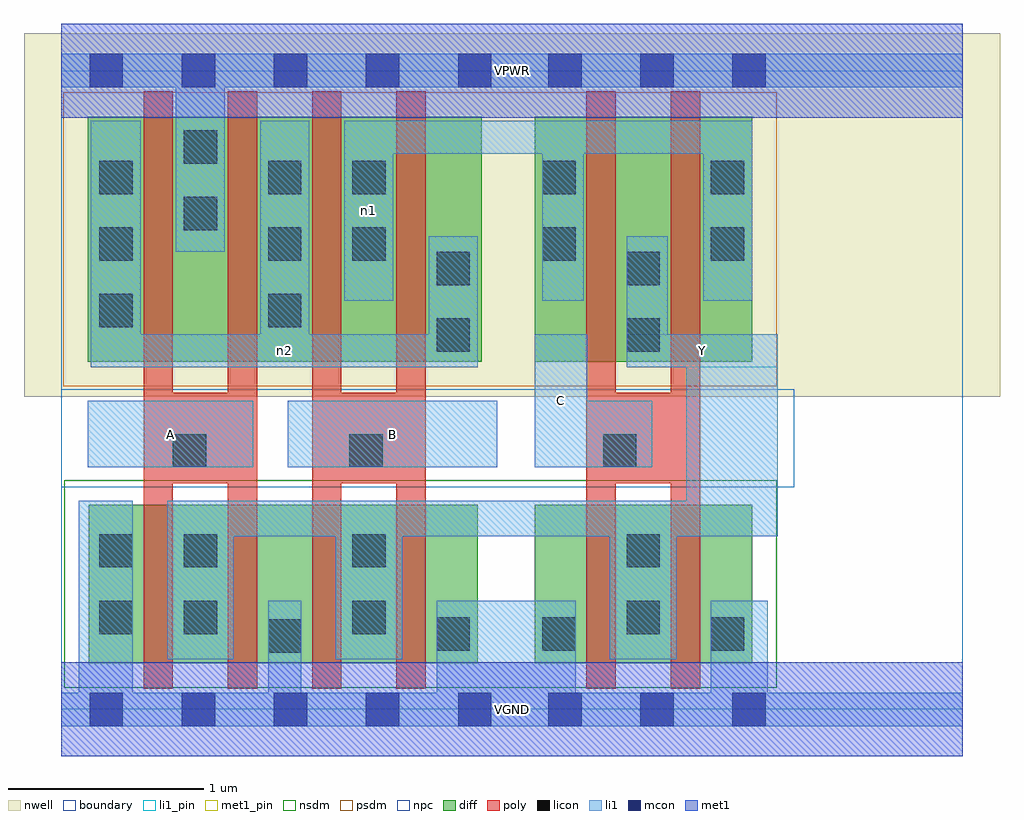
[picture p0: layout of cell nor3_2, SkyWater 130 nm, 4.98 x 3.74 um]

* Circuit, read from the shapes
.subckt nor3_2 A B C VGND VPWR Y n1 n2
XM1 Y A VGND VSUBS sky130_fd_pr__nfet_01v8 w=0.81 l=0.15 m=2
XM2 Y B VGND VSUBS sky130_fd_pr__nfet_01v8 w=0.81 l=0.15 m=2
XM3 Y C VGND VSUBS sky130_fd_pr__nfet_01v8 w=0.81 l=0.15 m=2
XM4 VPWR A n2 n3 sky130_fd_pr__pfet_01v8 w=1.25 l=0.15 m=2
XM5 n1 B n2 n3 sky130_fd_pr__pfet_01v8 w=1.25 l=0.15 m=2
XM6 Y C n1 n3 sky130_fd_pr__pfet_01v8 w=1.25 l=0.15 m=2
.ends

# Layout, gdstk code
import gdstk
lib = gdstk.Library(unit=1e-6, precision=1e-09)
def R(c, l, rs):  # rectangles x0, y0, x1, y1
    for r in rs: c.add(gdstk.rectangle(r[:2], r[2:], *l))
def A(c, l, x, y, w, h, nx, ny, dx, dy):  # array of equal rectangles
    R(c, l, [(x+i*dx, y+j*dy, x+i*dx+w, y+j*dy+h) for i in range(nx) for j in range(ny)])
nwell = (64, 20)
diff = (65, 20)
poly = (66, 20)
licon = (66, 44)
li1_pin = (67, 16)
li1 = (67, 20)
mcon = (67, 44)
met1_pin = (68, 16)
met1 = (68, 20)
nsdm = (93, 44)
psdm = (94, 20)
npc = (95, 20)
boundary = (235, 4)

nor3_2 = lib.new_cell('nor3_2')
R(nor3_2, nwell, [(-0.19,1.595,4.79,3.45), (0,1.595,4.6,3.45)])
R(nor3_2, diff, [(0.14,0.235,2.125,1.045), (2.415,0.235,3.525,1.045), (0.135,1.775,2.145,3.025), (2.415,1.775,3.525,3.025)])
A(nor3_2, poly, 0.42, 0.105, 0.15, 3.05, 4, 1, 0.43, 0)
R(nor3_2, poly, [(2.68,0.105,2.83,3.155), (3.11,0.105,3.26,3.155), (0.42,1.155,1,1.615), (1.28,1.155,1.86,1.615), (2.68,1.155,3.26,1.615)])
A(nor3_2, licon, 0.195, 1.95, 0.17, 0.17, 1, 3, 0, 0.34)
A(nor3_2, licon, 1.055, 1.95, 0.17, 0.17, 1, 3, 0, 0.34)
R(nor3_2, licon, [(1.055,0.29,1.225,0.46), (1.915,0.3,2.085,0.47), (2.455,0.3,2.625,0.47), (3.315,0.3,3.485,0.47), (0.195,0.385,0.365,0.555), (0.625,0.385,0.795,0.555), (1.485,0.385,1.655,0.555), (2.885,0.385,3.055,0.555), (0.195,0.725,0.365,0.895), (0.625,0.725,0.795,0.895), (1.485,0.725,1.655,0.895), (2.885,0.725,3.055,0.895), (0.57,1.235,0.74,1.405), (1.47,1.235,1.64,1.405), (2.765,1.235,2.935,1.405), (1.915,1.825,2.085,1.995), (2.885,1.825,3.055,1.995), (1.915,2.165,2.085,2.335), (2.885,2.165,3.055,2.335), (1.485,2.29,1.655,2.46), (2.455,2.29,2.625,2.46), (3.315,2.29,3.485,2.46), (0.625,2.445,0.795,2.615), (1.485,2.63,1.655,2.8), (2.455,2.63,2.625,2.8), (3.315,2.63,3.485,2.8), (0.625,2.785,0.795,2.955)])
R(nor3_2, li1_pin, [(0.135,1.235,0.98,1.575), (1.155,1.235,2.225,1.575), (2.415,1.235,2.685,1.915), (2.885,1.745,3.655,1.915)])
R(nor3_2, li1, [(0,-0.085,4.6,0.085), (0.09,-0.085,0.365,1.065), (1.055,-0.085,1.225,0.555), (1.915,-0.085,2.625,0.555), (3.315,-0.085,3.605,0.555), (0.54,0.255,0.88,1.065), (1.4,0.255,1.74,1.065), (2.8,0.255,3.14,1.065), (0.54,0.885,3.655,1.065), (3.19,0.885,3.655,1.915), (0.135,1.235,0.98,1.575), (1.155,1.235,2.225,1.575), (2.415,1.235,2.685,1.915), (2.415,1.235,3.015,1.575), (0.15,1.745,2.125,1.915), (0.15,1.745,0.405,3.005), (1.015,1.745,1.265,3.005), (1.875,1.745,2.125,2.415), (2.885,1.745,3.095,2.415), (2.885,1.745,3.655,1.915), (1.445,2.085,1.695,3.005), (2.455,2.085,2.665,3.005), (3.275,2.085,3.525,3.005), (0.585,2.335,0.835,3.345), (1.445,2.835,3.525,3.005), (0,3.175,4.6,3.345)])
A(nor3_2, mcon, 0.145, -0.085, 0.17, 0.17, 5, 2, 0.47, 3.26)
A(nor3_2, mcon, 2.485, -0.085, 0.17, 0.17, 3, 2, 0.47, 3.26)
R(nor3_2, met1_pin, [(0,-0.24,4.6,0.24), (0,3.02,4.6,3.5)])
R(nor3_2, met1, [(0,-0.24,4.6,0.24), (0,3.02,4.6,3.5)])
R(nor3_2, nsdm, [(0.015,0.11,3.65,1.17)])
R(nor3_2, psdm, [(0.01,1.65,3.65,3.15)])
R(nor3_2, npc, [(0,1.135,3.74,1.635)])
R(nor3_2, boundary, [(0,0,4.6,3.26)])
nor3_2.add(gdstk.Label('A', (0.557,1.405), layer=67, texttype=5))
nor3_2.add(gdstk.Label('B', (1.69,1.405), layer=67, texttype=5))
nor3_2.add(gdstk.Label('C', (2.55,1.575), layer=67, texttype=5))
nor3_2.add(gdstk.Label('Y', (3.27,1.83), layer=67, texttype=5))
nor3_2.add(gdstk.Label('n2', (1.137,1.83), layer=67, texttype=5))
nor3_2.add(gdstk.Label('n1', (1.57,2.545), layer=67, texttype=5))
nor3_2.add(gdstk.Label('VPWR', (2.3,3.26), layer=68, texttype=5))
nor3_2.add(gdstk.Label('VGND', (2.3,0), layer=68, texttype=5))
nor3_2.add(gdstk.Label('A', (0.557,1.405), layer=67, texttype=16))
nor3_2.add(gdstk.Label('B', (1.69,1.405), layer=67, texttype=16))
nor3_2.add(gdstk.Label('C', (2.55,1.575), layer=67, texttype=16))
nor3_2.add(gdstk.Label('Y', (3.27,1.83), layer=67, texttype=16))
nor3_2.add(gdstk.Label('VPWR', (2.3,3.26), layer=68, texttype=16))
nor3_2.add(gdstk.Label('VGND', (2.3,0), layer=68, texttype=16))

lib.write_gds('nor3_2.gds')
